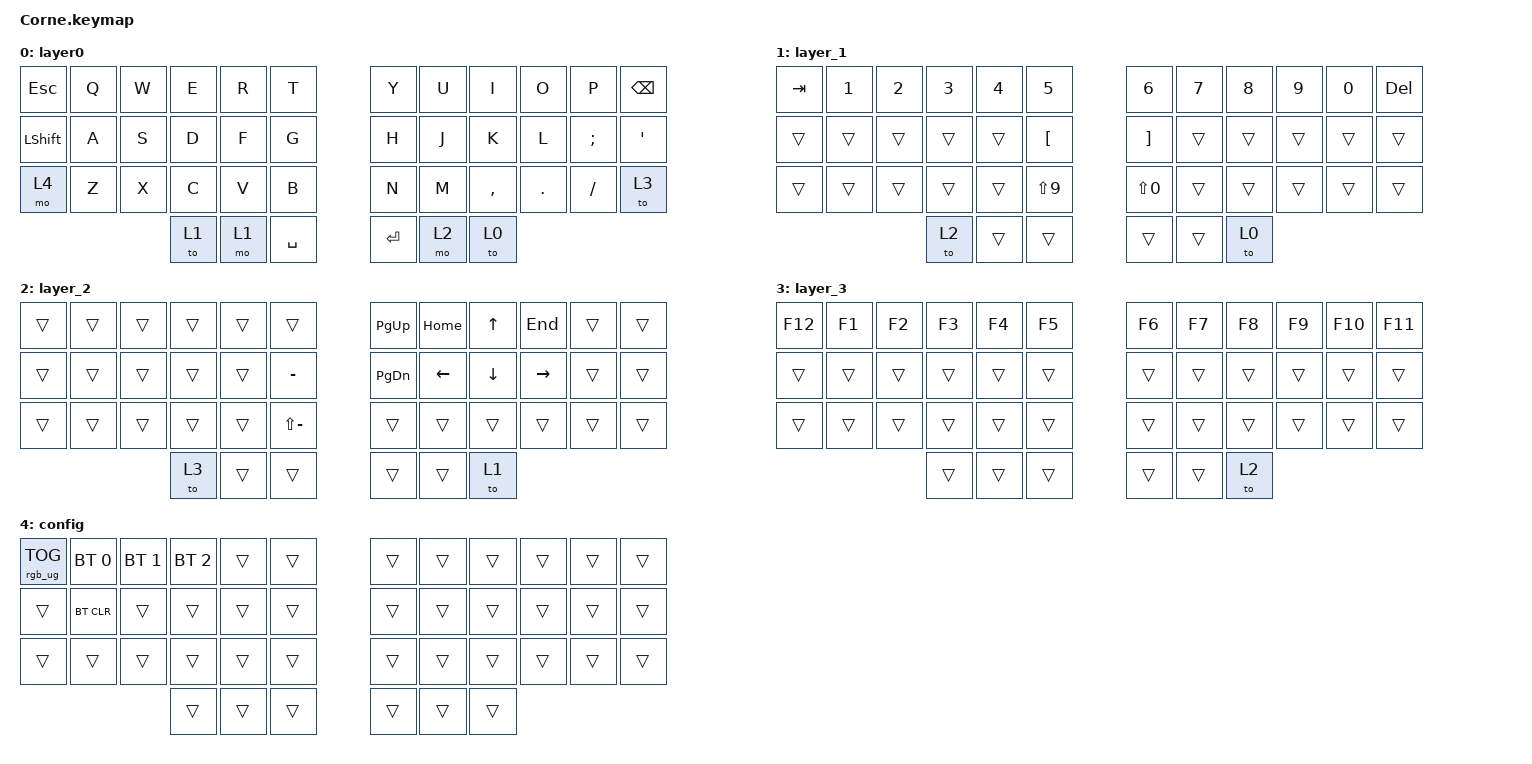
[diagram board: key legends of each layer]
/*
 * Copyright (c) 2020 The ZMK Contributors
 *
 * SPDX-License-Identifier: MIT
 */

#include <behaviors.dtsi>
#include <dt-bindings/zmk/bt.h>
#include <dt-bindings/zmk/keys.h>
#include <dt-bindings/zmk/rgb.h>

/ {
    combos {
        compatible = "zmk,combos";

        cmd {
            bindings = <&sk LEFT_COMMAND>;
            key-positions = <14 15 16>;
        };

        ctrl {
            bindings = <&sk LEFT_CONTROL>;
            key-positions = <14 15>;
        };

        alt {
            bindings = <&sk LEFT_ALT>;
            key-positions = <15 16>;
        };
    };

    keymap {
        compatible = "zmk,keymap";

        default {
            // -----------------------------------------------------------------------------------------
            // |  TAB |  Q  |  W  |  E  |  R  |  T  |   |  Y  |  U   |  I  |  O  |  P  | BKSP |
            // | CTRL |  A  |  S  |  D  |  F  |  G  |   |  H  |  J   |  K  |  L  |  ;  |  '   |
            // | SHFT |  Z  |  X  |  C  |  V  |  B  |   |  N  |  M   |  ,  |  .  |  /  | ESC  |
            //                    | GUI | LWR | SPC |   | ENT | RSE  | ALT |

            bindings = <
&kp ESCAPE      &kp Q  &kp W  &kp E  &kp R  &kp T      &kp Y    &kp U  &kp I      &kp O    &kp P     &kp BSPC
&kp LEFT_SHIFT  &kp A  &kp S  &kp D  &kp F  &kp G      &kp H    &kp J  &kp K      &kp L    &kp SEMI  &kp SQT
&mo 4           &kp Z  &kp X  &kp C  &kp V  &kp B      &kp N    &kp M  &kp COMMA  &kp DOT  &kp FSLH  &to 3
                              &to 1  &mo 1  &kp SPACE  &kp RET  &mo 2  &to 0
            >;

            display-name = "layer0";
        };

        layer_1 {
            bindings = <
&kp TAB  &kp N1  &kp N2  &kp N3  &kp N4  &kp N5      &kp N6      &kp N7  &kp N8  &kp N9  &kp N0  &kp DELETE
&trans   &trans  &trans  &trans  &trans  &kp LBKT    &kp RBKT    &trans  &trans  &trans  &trans  &trans
&trans   &trans  &trans  &trans  &trans  &kp LS(N9)  &kp LS(N0)  &trans  &trans  &trans  &trans  &trans
                         &to 2   &trans  &trans      &trans      &trans  &to 0
            >;
        };

        layer_2 {
            bindings = <
&trans  &trans  &trans  &trans  &trans  &trans         &kp PAGE_UP    &kp HOME        &kp UP_ARROW    &kp END          &trans  &trans
&trans  &trans  &trans  &trans  &trans  &kp MINUS      &kp PAGE_DOWN  &kp LEFT_ARROW  &kp DOWN_ARROW  &kp RIGHT_ARROW  &trans  &trans
&trans  &trans  &trans  &trans  &trans  &kp LS(MINUS)  &trans         &trans          &trans          &trans           &trans  &trans
                        &to 3   &trans  &trans         &trans         &trans          &to 1
            >;
        };

        layer_3 {
            bindings = <
&kp F12  &kp F1  &kp F2  &kp F3  &kp F4  &kp F5  &kp F6  &kp F7  &kp F8  &kp F9  &kp F10  &kp F11
&trans   &trans  &trans  &trans  &trans  &trans  &trans  &trans  &trans  &trans  &trans   &trans
&trans   &trans  &trans  &trans  &trans  &trans  &trans  &trans  &trans  &trans  &trans   &trans
                         &trans  &trans  &trans  &trans  &trans  &to 2
            >;
        };

        config {
            bindings = <
&rgb_ug RGB_TOG  &bt BT_SEL 0  &bt BT_SEL 1  &bt BT_SEL 2  &trans  &trans  &trans  &trans  &trans  &trans  &trans  &trans
&trans           &bt BT_CLR    &trans        &trans        &trans  &trans  &trans  &trans  &trans  &trans  &trans  &trans
&trans           &trans        &trans        &trans        &trans  &trans  &trans  &trans  &trans  &trans  &trans  &trans
                                             &trans        &trans  &trans  &trans  &trans  &trans
            >;
        };
    };
};
